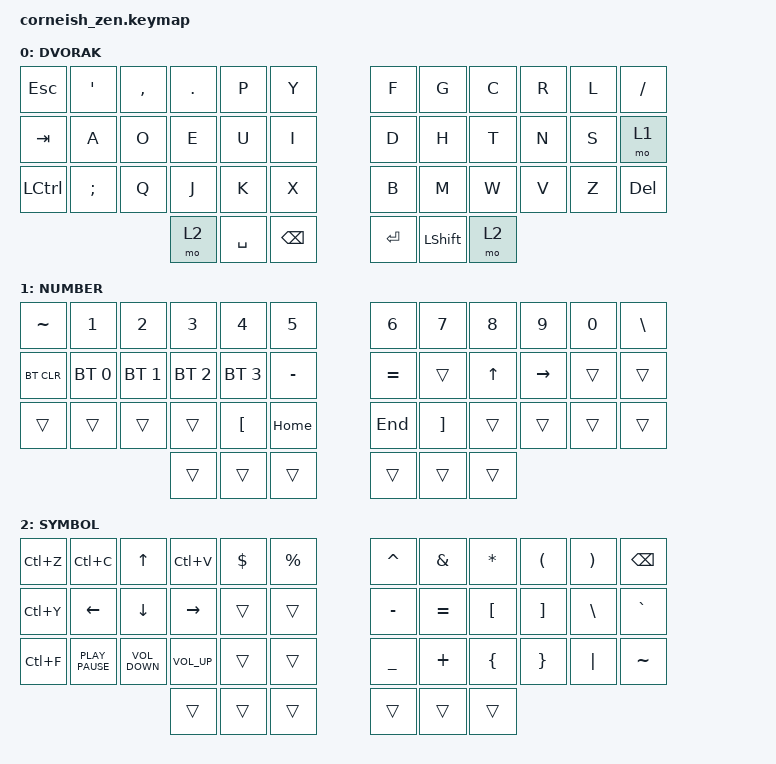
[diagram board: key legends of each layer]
#include <behaviors.dtsi>
#include <dt-bindings/zmk/bt.h>
#include <dt-bindings/zmk/keys.h>

/ {
    chosen {
        zmk,matrix_transform = &default_transform;

        //zmk,matrix_transform = &five_column_transform;
    };
};

/ {
    keymap {
        compatible = "zmk,keymap";

        default_layer {
            label = "DVORAK";

            // -----------------------------------------------------------------------------------------
            // |  TAB |  Q  |  W  |  E  |  R  |  T  |   |  Y  |  U   |  I  |  O  |  P  | BKSP |
            // | CTRL |  A  |  S  |  D  |  F  |  G  |   |  H  |  J   |  K  |  L  |  ;  |  '   |
            // | SHFT |  Z  |  X  |  C  |  V  |  B  |   |  N  |  M   |  ,  |  .  |  /  | ESC  |
            //                    | GUI | LWR | SPC |   | ENT | RSE  | ALT |

            bindings = <
&kp ESC           &kp SQT        &kp COMMA  &kp PERIOD  &kp P      &kp Y            &kp F    &kp G           &kp C  &kp R  &kp L  &kp SLASH
&kp TAB           &kp A          &kp O      &kp E       &kp U      &kp I            &kp D    &kp H           &kp T  &kp N  &kp S  &mo 1
&kp LEFT_CONTROL  &kp SEMICOLON  &kp Q      &kp J       &kp K      &kp X            &kp B    &kp M           &kp W  &kp V  &kp Z  &kp DELETE
                                            &mo 2       &kp SPACE  &kp BACKSPACE    &kp RET  &kp LEFT_SHIFT  &mo 2
            >;
        };

        lower_layer {
            label = "NUMBER";

            // -----------------------------------------------------------------------------------------
            // |  TAB |  1  |  2  |  3  |  4  |  5  |   |  6  |  7  |  8  |  9  |  0  | BKSP |
            // | BTCLR| BT1 | BT2 | BT3 | BT4 | BT5 |   | LFT | DWN |  UP | RGT |     |      |
            // | SHFT |     |     |     |     |     |   |     |     |     |     |     |      |
            //                    | GUI |     | SPC |   | ENT |     | ALT |

            bindings = <
&kp TILDE   &kp N1        &kp N2        &kp N3        &kp N4            &kp N5       &kp N6     &kp N7             &kp N8  &kp N9     &kp N0  &kp BACKSLASH
&bt BT_CLR  &bt BT_SEL 0  &bt BT_SEL 1  &bt BT_SEL 2  &bt BT_SEL 3      &kp MINUS    &kp EQUAL  &trans             &kp UP  &kp RIGHT  &trans  &trans
&trans      &trans        &trans        &trans        &kp LEFT_BRACKET  &kp HOME     &kp END    &kp RIGHT_BRACKET  &trans  &trans     &trans  &trans
                                        &trans        &trans            &trans       &trans     &trans             &trans
            >;
        };

        raise_layer {
            label = "SYMBOL";

            // -----------------------------------------------------------------------------------------
            // |  TAB |  !  |  @  |  #  |  $  |  %  |   |  ^  |  &  |  *  |  (  |  )  | BKSP |
            // | CTRL |     |     |     |     |     |   |  -  |  =  |  [  |  ]  |  \  |  `   |
            // | SHFT |     |     |     |     |     |   |  _  |  +  |  {  |  }  | "|" |  ~   |
            //                    | GUI |     | SPC |   | ENT |     | ALT |

            bindings = <
&kp LC(Z)  &kp LC(C)         &kp UP_ARROW       &kp LC(V)        &kp DLLR  &kp PRCNT    &kp CARET  &kp AMPS   &kp STAR  &kp LPAR  &kp RPAR  &kp BSPC
&kp LC(Y)  &kp LEFT_ARROW    &kp DOWN           &kp RIGHT        &trans    &trans       &kp MINUS  &kp EQUAL  &kp LBKT  &kp RBKT  &kp BSLH  &kp GRAVE
&kp LC(F)  &kp K_PLAY_PAUSE  &kp K_VOLUME_DOWN  &kp K_VOLUME_UP  &trans    &trans       &kp UNDER  &kp PLUS   &kp LBRC  &kp RBRC  &kp PIPE  &kp TILDE
                                                &trans           &trans    &trans       &trans     &trans     &trans
            >;
        };
    };
};
